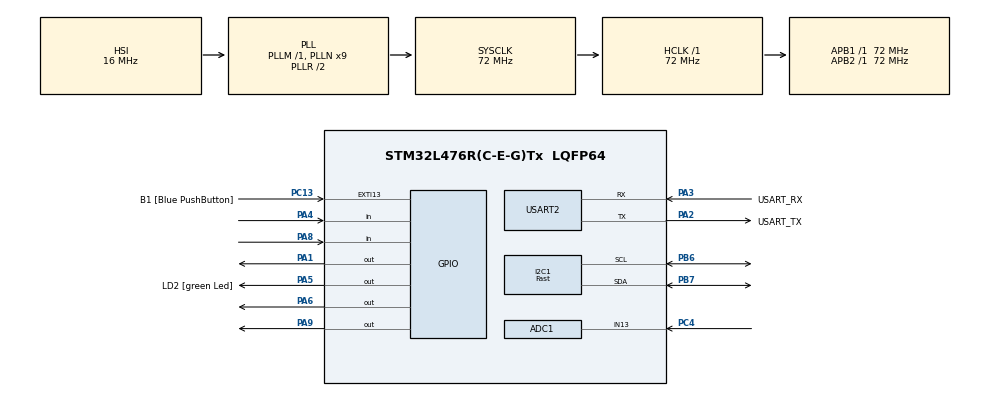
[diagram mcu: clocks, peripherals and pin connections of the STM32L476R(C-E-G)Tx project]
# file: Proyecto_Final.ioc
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ADC1.Channel-5\#ChannelRegularConversion=ADC_CHANNEL_13
ADC1.ContinuousConvMode=ENABLE
ADC1.NbrOfConversionFlag=1
ADC1.OffsetNumber-5\#ChannelRegularConversion=ADC_OFFSET_NONE
ADC1.Rank-5\#ChannelRegularConversion=1
ADC1.SamplingTime-5\#ChannelRegularConversion=ADC_SAMPLETIME_2CYCLES_5
ADC1.master=1
I2C1.I2C_Speed_Mode=I2C_Fast
I2C1.Timing=0x00702681
Mcu.Family=STM32L4
Mcu.Name=STM32L476R(C-E-G)Tx
Mcu.Package=LQFP64
NVIC.PriorityGroup=NVIC_PRIORITYGROUP_4
PA1.Signal=GPIO_Output
PA13\ (JTMS-SWDIO).GPIO_Label=TMS
PA13\ (JTMS-SWDIO).Mode=Serial_Wire
PA13\ (JTMS-SWDIO).Signal=SYS_JTMS-SWDIO
PA14\ (JTCK-SWCLK).GPIO_Label=TCK
PA14\ (JTCK-SWCLK).Mode=Serial_Wire
PA14\ (JTCK-SWCLK).Signal=SYS_JTCK-SWCLK
PA2.GPIO_Label=USART_TX
PA2.GPIO_Mode=GPIO_MODE_AF_PP
PA2.GPIO_PuPd=GPIO_NOPULL
PA2.GPIO_Speed=GPIO_SPEED_FREQ_VERY_HIGH
PA2.Mode=Asynchronous
PA2.Signal=USART2_TX
PA3.GPIO_Label=USART_RX
PA3.GPIO_Mode=GPIO_MODE_AF_PP
PA3.GPIO_PuPd=GPIO_NOPULL
PA3.GPIO_Speed=GPIO_SPEED_FREQ_VERY_HIGH
PA3.Mode=Asynchronous
PA3.Signal=USART2_RX
PA4.Signal=GPIO_Input
PA5.GPIO_Label=LD2 [green Led]
PA5.GPIO_ModeDefaultOutputPP=GPIO_MODE_OUTPUT_PP
PA5.GPIO_PuPd=GPIO_NOPULL
PA5.GPIO_Speed=GPIO_SPEED_FREQ_LOW
PA5.Signal=GPIO_Output
PA6.Signal=GPIO_Output
PA8.Signal=GPIO_Input
PA9.Signal=GPIO_Output
PB3\ (JTDO-TRACESWO).GPIO_Label=SWO
PB3\ (JTDO-TRACESWO).Signal=SYS_JTDO-SWO
PB6.Mode=I2C
PB6.Signal=I2C1_SCL
PB7.Mode=I2C
PB7.Signal=I2C1_SDA
PC13.GPIO_Label=B1 [Blue PushButton]
PC13.GPIO_ModeDefaultEXTI=GPIO_MODE_IT_FALLING
PC13.GPIO_PuPd=GPIO_NOPULL
PC13.Signal=GPXTI13
PC14-OSC32_IN\ (PC14).Signal=RCC_OSC32_IN
PC15-OSC32_OUT\ (PC15).Signal=RCC_OSC32_OUT
PC4.Signal=ADCx_IN13
PH0-OSC_IN\ (PH0).Mode=HSE-External-Oscillator
PH0-OSC_IN\ (PH0).Signal=RCC_OSC_IN
PH1-OSC_OUT\ (PH1).Mode=HSE-External-Oscillator
PH1-OSC_OUT\ (PH1).Signal=RCC_OSC_OUT
ProjectManager.HeapSize=0x200
ProjectManager.StackSize=0x400
ProjectManager.TargetToolchain=STM32CubeIDE
RCC.ADCFreq_Value=64000000
RCC.AHBFreq_Value=72000000
RCC.APB1Freq_Value=72000000
RCC.APB1TimFreq_Value=72000000
RCC.APB2Freq_Value=72000000
RCC.APB2TimFreq_Value=72000000
RCC.CortexFreq_Value=72000000
RCC.HCLKFreq_Value=72000000
RCC.HSE_VALUE=8000000
RCC.HSI_VALUE=16000000
RCC.LSE_VALUE=32768
RCC.MSI_VALUE=4000000
RCC.PLLN=9
RCC.PLLSourceVirtual=RCC_PLLSOURCE_HSI
RCC.PREFETCH_ENABLE=1
RCC.SYSCLKFreq_VALUE=72000000
RCC.SYSCLKSource=RCC_SYSCLKSOURCE_PLLCLK
RCC.USBFreq_Value=64000000
RCC.VCOOutputFreq_Value=144000000
SH.ADCx_IN13.0=ADC1_IN13,IN13-Single-Ended
TIM1.Prescaler=71
USART2.VirtualMode-Asynchronous=VM_ASYNC
VP_TIM1_VS_ClockSourceINT.Mode=Internal
board=NUCLEO-L476RG

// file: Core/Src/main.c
/* USER CODE BEGIN Header */
/**
 ******************************************************************************
 * @file           : main.c
 * @brief          : Main program body
 ******************************************************************************
 * @attention
 *
 * Copyright (c) 2022 STMicroelectronics.
 * All rights reserved.
 *
 * This software is licensed under terms that can be found in the LICENSE file
 * in the root directory of this software component.
 * If no LICENSE file comes with this software, it is provided AS-IS.
 *
 * CONEXIONES:
 * HC-SR04 (PROXIMIDAD): Vcc = +5V, Trig = PA9, Echo = PA8
 * SSD1306 (OLED): Vcc = +3.3V, SDA = PB7, SCL = PB6
 * HUMEDAD: Vcc = +5V, AO = PC4
 * DHT11 (TEMPERATURA): Vcc = +5V, DAT = A1
 * PA4: Entrada botón
 * PA6: Salida relé para motobomba
 ******************************************************************************
 */
/* USER CODE END Header */
#include "main.h"

/* USER CODE BEGIN Includes */
#include "fonts.h"
#include "ssd1306.h"
#include "stdio.h"
#include "planta.h"
#include "delay.h"
#include "app_nucleo_l476.h"
#include "animation.h"
#include "distancia.h"
#include "temperatura.h"
#include "humedad.h"
/* USER CODE END Includes */

ADC_HandleTypeDef hadc1;

I2C_HandleTypeDef hi2c1;

TIM_HandleTypeDef htim1;

UART_HandleTypeDef huart2;

/* USER CODE BEGIN PV */

char strCopy[30]; //Para escribir en el OLED

uint8_t Button = 0; //BOMBA

extern void FSM_Read_PushButton_1(uint8_t *flag);//BOMBA
extern void DireccionalDerecha(uint8_t *flag);//BOMBA
static uint8_t temp_1 = 0;//BOMBA

/* USER CODE END PV */

void SystemClock_Config(void);
static void MX_GPIO_Init(void);
static void MX_USART2_UART_Init(void);
static void MX_I2C1_Init(void);
static void MX_TIM1_Init(void);
static void MX_ADC1_Init(void);

int main(void)
{

	/* MCU Configuration--------------------------------------------------------*/

	/* Reset of all peripherals, Initializes the Flash interface and the Systick. */
	HAL_Init();

	/* Configure the system clock */
	SystemClock_Config();

	/* Initialize all configured peripherals */
	MX_GPIO_Init();
	MX_USART2_UART_Init();
	MX_I2C1_Init();
	MX_TIM1_Init();
	MX_ADC1_Init();
	/* USER CODE BEGIN 2 */
	HAL_ADC_Start(&hadc1); //Para humedad
	HAL_TIM_Base_Start(&htim1);
	HAL_GPIO_WritePin(TRIG_PORT, TRIG_PIN, GPIO_PIN_RESET);  // pull the TRIG pin low (ULTRASONICO)
	SSD1306_Init();

	SSD1306_GotoXY (0, 0);
	SSD1306_Puts ("INICALIZANDO...", &Font_7x10, 1);
	SSD1306_UpdateScreen();
	HAL_Delay(1000);
	SSD1306_Clear();

	/* USER CODE END 2 */

	/* Infinite loop */
	/* USER CODE BEGIN WHILE */
	while (1)
	{
		static uint64_t c;

/////////////////////////////////////////////////////////////////////////////////////////////////////////////////////////////
/////////////////////////////////////////SENSOR DISTANCIA ULTRASÓNICO////////////////////////////////////////////////////////
/////////////////////////////////////////////////////////////////////////////////////////////////////////////////////////////

		DISTANCIA();

//ACTIVACION MANUAL CON BOTON
		if(Distance < 13){
			FSM_Read_PushButton_1(&temp_1); //LECTURA BOTÓN
			DireccionalDerecha(&temp_1); //ACTIVACION MANUAL BOMBA
			if(temp_1==1){
			c=0;
			while(temp_1==1 && Distance < 13){
				if(c++ == 0){ //Para limpiar display una sola vez
				SSD1306_Clear();}
				animation1(); //Animacion para modo manual
				FSM_Read_PushButton_1(&temp_1);
				DISTANCIA(); //Para salir del loop por si se acaba el agua en el modo manual
			}
			LD3_Reset();
			SSD1306_Clear();
		}}

		//IMPRESIÓN EN LCD DISTANCIA
		SSD1306_GotoXY (0, 0);
		sprintf(strCopy,"%dcm ", Distance);
		SSD1306_Puts (strCopy, &Font_11x18, 1);
		SSD1306_UpdateScreen();

/////////////////////////////////////////////////////////////////////////////////////////////////////////////////////////////
/////////////////////////////////////////RECARGA BOMBA///////////////////////////////////////////////////////////////////////
/////////////////////////////////////////////////////////////////////////////////////////////////////////////////////////////

		//AVISO LLENADO DE BOMBA, CALIBRAR - MUESTRA DATOS PERO NO ACCIONA LA BOMBA DE AGUA
		if(Distance >= 13){
			c=0;
			while(Distance >= 13){
				if(c++ == 0){
					SSD1306_Clear(); //HACE UN CLEAR DEL DISPLAY SOLO LA PRIMERA VEZ PARA QUITAR LAS LETRAS
					SSD1306_Fill(SSD1306_COLOR_WHITE);
					SSD1306_GotoXY (0, 0);
					sprintf(strCopy,"RECARGAR");
					SSD1306_Puts (strCopy, &Font_11x18, 0);
					SSD1306_GotoXY (0, 18);
					sprintf(strCopy,"TANQUE");
					SSD1306_Puts (strCopy, &Font_11x18, 0);
					SSD1306_UpdateScreen();
				}

			//LECTURAS SIN ACCIONAR BOMBA//

				//TEMPERATURA
				TEMPERATURA();
				sprintf(strCopy,"%d.%dC", TCI, TCD);
				SSD1306_GotoXY (66, 36);
				SSD1306_Puts (strCopy, &Font_7x10, 0);
				SSD1306_UpdateScreen();

				//DISTANCIA

				SSD1306_GotoXY (0, 36);
				sprintf(strCopy,"%dcm ", Distance);
				SSD1306_Puts (strCopy, &Font_7x10, 0);
				SSD1306_UpdateScreen();

				//HUMEDAD
				HUMEDAD();

				if (readValue > 3200)
				{
					SSD1306_GotoXY (0, 46);
					sprintf(strCopy,"Humedad baja ");
					SSD1306_Puts (strCopy, &Font_7x10, 0);

				}
				else if (readValue > 1500 )
				{
					SSD1306_GotoXY (0, 46);
					sprintf(strCopy,"Humedad media ");
					SSD1306_Puts (strCopy, &Font_7x10, 0);
					SSD1306_UpdateScreen();

				}
				else
				{
					SSD1306_GotoXY (0, 46);
					sprintf(strCopy,"Humedad alta ");
					SSD1306_Puts (strCopy, &Font_7x10, 0);
					SSD1306_UpdateScreen();
				}

			//PARA SALIR DEL LOOP:
				DISTANCIA();

			}
			SSD1306_Fill(SSD1306_COLOR_BLACK);
		}

//////////////////////////////////////////////////////////////////////////////////////////////////////////////////////////
/////////////////////////////////////////SENSOR TEMPERATURA DHT11/////////////////////////////////////////////////////////
//////////////////////////////////////////////////////////////////////////////////////////////////////////////////////////

		TEMPERATURA();
		HUMEDAD(); //Diagrama de flujo, es por si no entré a ningun ciclo anterior, nunca habré leido la temperatura

		//IMPRESIÓN EN LCD TEMPERATURA
		sprintf(strCopy,"%d.%dC", TCI, TCD);
		SSD1306_GotoXY (65, 0);
		SSD1306_Puts (strCopy, &Font_11x18, 1);
		SSD1306_UpdateScreen();

		//Accionamiento sensor
		if(TCI >= 26 && Distance < 13) //El distance es para asegurarse que haya agua en la bomba, es solo protocolo de seguridad ya que el sistema espera a que haya agua en el tanque
		{
			SSD1306_GotoXY (0, 40);
			sprintf(strCopy,"Temperatura alta ");
			SSD1306_Puts (strCopy, &Font_7x10, 1);
			SSD1306_GotoXY (0, 50);

			if(readValue > 2400){ //Que no riegue si hay humedad alta, solo media o menor, la diferencia con la humedad baja aqui es que mostrara la temperatura que es un dato importante en este caso
			sprintf(strCopy,"Iniciando riego...");
			SSD1306_Puts (strCopy, &Font_7x10, 1);
			SSD1306_UpdateScreen();
			HAL_Delay(1000);
			c=0;

			while (TCI >= 26 && Distance < 13 && readValue > 1500) //Aqui si es importante el distance para no dañar la bomba, el readValue es para la humedad, no tiene sentido regar las plantas con humedad muy alta
			{

				if(c++ == 0){
					LD3_Set(); //ACTIVA LA BOMBA LA PRIMERA VEZ QUE ENTRE AL LOOP.
					SSD1306_Clear(); //HACE UN CLEAR DEL DISPLAY SOLO LA PRIMERA VEZ PARA QUITAR LAS LETRAS
				}

				//BEGIN PLANT ANIMATION
				animation1();

				sprintf(strCopy,"%d.%dC", TCI, TCD); //Para mostrar temperatura mientras riega
				SSD1306_GotoXY (0, 0);
				SSD1306_Puts (strCopy, &Font_11x18, 1);
				SSD1306_UpdateScreen();

				//END PLANT ANIMATION

				//Para salir del ciclo:
				TEMPERATURA();

				//MEDIDA DE DISTANCIA
				DISTANCIA();

				//MEDIDA DE HUMEDAD
				HUMEDAD();
			}
			SSD1306_Clear();
			SSD1306_UpdateScreen();
			LD3_Reset(); //Apagar bomba despues del ciclo
		}}

//////////////////////////////////////////////////////////////////////////////////////////////////////////////////////////
/////////////////////////////////////////SENSOR HUMEDAD EN LA TIERRA//////////////////////////////////////////////////////
//////////////////////////////////////////////////////////////////////////////////////////////////////////////////////////

		HUMEDAD();

		//Implementacion sensor
		if (readValue > 3200 && Distance < 13) //El distance es para asegurarse que haya agua en la bomba, es solo protocolo de seguridad ya que el sistema espera a que haya agua en el tanque
		{
			SSD1306_GotoXY (0, 30);
			sprintf(strCopy,"Humedad baja ");
			SSD1306_Puts (strCopy, &Font_7x10, 1);
			SSD1306_GotoXY (0, 50);
			sprintf(strCopy,"Iniciando riego... ");
			SSD1306_Puts (strCopy, &Font_7x10, 1);
			SSD1306_UpdateScreen();
			HAL_Delay(1000);
			c=0;
			while (readValue > 3200 && Distance < 13) //Aqui es importante el distance para no dañar la bomba)
			{

				if(c++ == 0){
					LD3_Set(); //ACTIVA LA BOMBA LA PRIMERA VEZ QUE ENTRE AL LOOP.
					SSD1306_Clear(); //HACE UN CLEAR DEL DISPLAY SOLO LA PRIMERA VEZ PARA QUITAR LAS LETRAS
				}

				//BEGIN PLANT ANIMATION
				animation1();
				//END PLANT ANIMATION

				HUMEDAD(); //Para salir del ciclo
				DISTANCIA(); //Para la bomba

			}

			SSD1306_Clear();
			SSD1306_UpdateScreen();

			LD3_Reset(); //DESACTIVA LA BOMBA DESPUÉS FINAL DEL WHILE, HAY QUE PONERLA AQUI PARA QUE NO SE PARE EN PROCESO MANUAL (BOTON) CUANDO DETECTE OTRAS HUMEDADES
		}
		else if (readValue > 1500 )
		{
			SSD1306_GotoXY (0, 30);
			sprintf(strCopy,"Humedad media ");
			SSD1306_Puts (strCopy, &Font_7x10, 1);
			SSD1306_UpdateScreen();

			if(TCI < 26){
				SSD1306_GotoXY (0, 50);
				sprintf(strCopy,"                  "); //Para borrar iniciando regado SOLO cuando no hay altas temperaturas
				SSD1306_Puts (strCopy, &Font_7x10, 1);
				SSD1306_UpdateScreen();
			}}
		else
		{
			SSD1306_GotoXY (0, 30);
			sprintf(strCopy,"Humedad alta ");
			SSD1306_Puts (strCopy, &Font_7x10, 1);
			SSD1306_UpdateScreen();

			if(TCI < 26){
				SSD1306_GotoXY (0, 50);
				sprintf(strCopy,"                  "); //Para borrar iniciando regado SOLO cuando no hay altas temperaturas
				SSD1306_Puts (strCopy, &Font_7x10, 1);
				SSD1306_UpdateScreen();
			}}

		/* USER CODE END WHILE */

	}
}

void SystemClock_Config(void)
{
	RCC_OscInitTypeDef RCC_OscInitStruct = {0};
	RCC_ClkInitTypeDef RCC_ClkInitStruct = {0};

	/** Configure the main internal regulator output voltage
	 */
	if (HAL_PWREx_ControlVoltageScaling(PWR_REGULATOR_VOLTAGE_SCALE1) != HAL_OK)
	{
		Error_Handler();
	}

	/** Initializes the RCC Oscillators according to the specified parameters
	 * in the RCC_OscInitTypeDef structure.
	 */
	RCC_OscInitStruct.OscillatorType = RCC_OSCILLATORTYPE_HSI;
	RCC_OscInitStruct.HSIState = RCC_HSI_ON;
	RCC_OscInitStruct.HSICalibrationValue = RCC_HSICALIBRATION_DEFAULT;
	RCC_OscInitStruct.PLL.PLLState = RCC_PLL_ON;
	RCC_OscInitStruct.PLL.PLLSource = RCC_PLLSOURCE_HSI;
	RCC_OscInitStruct.PLL.PLLM = 1;
	RCC_OscInitStruct.PLL.PLLN = 9;
	RCC_OscInitStruct.PLL.PLLP = RCC_PLLP_DIV7;
	RCC_OscInitStruct.PLL.PLLQ = RCC_PLLQ_DIV2;
	RCC_OscInitStruct.PLL.PLLR = RCC_PLLR_DIV2;
	if (HAL_RCC_OscConfig(&RCC_OscInitStruct) != HAL_OK)
	{
		Error_Handler();
	}

	/** Initializes the CPU, AHB and APB buses clocks
	 */
	RCC_ClkInitStruct.ClockType = RCC_CLOCKTYPE_HCLK|RCC_CLOCKTYPE_SYSCLK
			|RCC_CLOCKTYPE_PCLK1|RCC_CLOCKTYPE_PCLK2;
	RCC_ClkInitStruct.SYSCLKSource = RCC_SYSCLKSOURCE_PLLCLK;
	RCC_ClkInitStruct.AHBCLKDivider = RCC_SYSCLK_DIV1;
	RCC_ClkInitStruct.APB1CLKDivider = RCC_HCLK_DIV1;
	RCC_ClkInitStruct.APB2CLKDivider = RCC_HCLK_DIV1;

	if (HAL_RCC_ClockConfig(&RCC_ClkInitStruct, FLASH_LATENCY_4) != HAL_OK)
	{
		Error_Handler();
	}
}

static void MX_ADC1_Init(void)
{

	ADC_MultiModeTypeDef multimode = {0};
	ADC_ChannelConfTypeDef sConfig = {0};

	/** Common config
	 */
	hadc1.Instance = ADC1;
	hadc1.Init.ClockPrescaler = ADC_CLOCK_ASYNC_DIV1;
	hadc1.Init.Resolution = ADC_RESOLUTION_12B;
	hadc1.Init.DataAlign = ADC_DATAALIGN_RIGHT;
	hadc1.Init.ScanConvMode = ADC_SCAN_DISABLE;
	hadc1.Init.EOCSelection = ADC_EOC_SINGLE_CONV;
	hadc1.Init.LowPowerAutoWait = DISABLE;
	hadc1.Init.ContinuousConvMode = ENABLE;
	hadc1.Init.NbrOfConversion = 1;
	hadc1.Init.DiscontinuousConvMode = DISABLE;
	hadc1.Init.ExternalTrigConv = ADC_SOFTWARE_START;
	hadc1.Init.ExternalTrigConvEdge = ADC_EXTERNALTRIGCONVEDGE_NONE;
	hadc1.Init.DMAContinuousRequests = DISABLE;
	hadc1.Init.Overrun = ADC_OVR_DATA_PRESERVED;
	hadc1.Init.OversamplingMode = DISABLE;
	if (HAL_ADC_Init(&hadc1) != HAL_OK)
	{
		Error_Handler();
	}

	/** Configure the ADC multi-mode
	 */
	multimode.Mode = ADC_MODE_INDEPENDENT;
	if (HAL_ADCEx_MultiModeConfigChannel(&hadc1, &multimode) != HAL_OK)
	{
		Error_Handler();
	}

	/** Configure Regular Channel
	 */
	sConfig.Channel = ADC_CHANNEL_13;
	sConfig.Rank = ADC_REGULAR_RANK_1;
	sConfig.SamplingTime = ADC_SAMPLETIME_2CYCLES_5;
	sConfig.SingleDiff = ADC_SINGLE_ENDED;
	sConfig.OffsetNumber = ADC_OFFSET_NONE;
	sConfig.Offset = 0;
	if (HAL_ADC_ConfigChannel(&hadc1, &sConfig) != HAL_OK)
	{
		Error_Handler();
	}

}

static void MX_I2C1_Init(void)
{

	hi2c1.Instance = I2C1;
	hi2c1.Init.Timing = 0x00702681;
	hi2c1.Init.OwnAddress1 = 0;
	hi2c1.Init.AddressingMode = I2C_ADDRESSINGMODE_7BIT;
	hi2c1.Init.DualAddressMode = I2C_DUALADDRESS_DISABLE;
	hi2c1.Init.OwnAddress2 = 0;
	hi2c1.Init.OwnAddress2Masks = I2C_OA2_NOMASK;
	hi2c1.Init.GeneralCallMode = I2C_GENERALCALL_DISABLE;
	hi2c1.Init.NoStretchMode = I2C_NOSTRETCH_DISABLE;
	if (HAL_I2C_Init(&hi2c1) != HAL_OK)
	{
		Error_Handler();
	}

	/** Configure Analogue filter
	 */
	if (HAL_I2CEx_ConfigAnalogFilter(&hi2c1, I2C_ANALOGFILTER_ENABLE) != HAL_OK)
	{
		Error_Handler();
	}

	/** Configure Digital filter
	 */
	if (HAL_I2CEx_ConfigDigitalFilter(&hi2c1, 0) != HAL_OK)
	{
		Error_Handler();
	}

}

static void MX_TIM1_Init(void)
{

	TIM_ClockConfigTypeDef sClockSourceConfig = {0};
	TIM_MasterConfigTypeDef sMasterConfig = {0};

	htim1.Instance = TIM1;
	htim1.Init.Prescaler = 71;
	htim1.Init.CounterMode = TIM_COUNTERMODE_UP;
	htim1.Init.Period = 65535;
	htim1.Init.ClockDivision = TIM_CLOCKDIVISION_DIV1;
	htim1.Init.RepetitionCounter = 0;
	htim1.Init.AutoReloadPreload = TIM_AUTORELOAD_PRELOAD_DISABLE;
	if (HAL_TIM_Base_Init(&htim1) != HAL_OK)
	{
		Error_Handler();
	}
	sClockSourceConfig.ClockSource = TIM_CLOCKSOURCE_INTERNAL;
	if (HAL_TIM_ConfigClockSource(&htim1, &sClockSourceConfig) != HAL_OK)
	{
		Error_Handler();
	}
	sMasterConfig.MasterOutputTrigger = TIM_TRGO_RESET;
	sMasterConfig.MasterOutputTrigger2 = TIM_TRGO2_RESET;
	sMasterConfig.MasterSlaveMode = TIM_MASTERSLAVEMODE_DISABLE;
	if (HAL_TIMEx_MasterConfigSynchronization(&htim1, &sMasterConfig) != HAL_OK)
	{
		Error_Handler();
	}

}

static void MX_USART2_UART_Init(void)
{

	huart2.Instance = USART2;
	huart2.Init.BaudRate = 115200;
	huart2.Init.WordLength = UART_WORDLENGTH_8B;
	huart2.Init.StopBits = UART_STOPBITS_1;
	huart2.Init.Parity = UART_PARITY_NONE;
	huart2.Init.Mode = UART_MODE_TX_RX;
	huart2.Init.HwFlowCtl = UART_HWCONTROL_NONE;
	huart2.Init.OverSampling = UART_OVERSAMPLING_16;
	huart2.Init.OneBitSampling = UART_ONE_BIT_SAMPLE_DISABLE;
	huart2.AdvancedInit.AdvFeatureInit = UART_ADVFEATURE_NO_INIT;
	if (HAL_UART_Init(&huart2) != HAL_OK)
	{
		Error_Handler();
	}

}

static void MX_GPIO_Init(void)
{
	GPIO_InitTypeDef GPIO_InitStruct = {0};

	/* GPIO Ports Clock Enable */
	__HAL_RCC_GPIOC_CLK_ENABLE();
	__HAL_RCC_GPIOH_CLK_ENABLE();
	__HAL_RCC_GPIOA_CLK_ENABLE();
	__HAL_RCC_GPIOB_CLK_ENABLE();

	/*Configure GPIO pin Output Level */
	HAL_GPIO_WritePin(GPIOA, GPIO_PIN_1|LD2_Pin|GPIO_PIN_6|GPIO_PIN_9, GPIO_PIN_RESET);

	/*Configure GPIO pin : B1_Pin */
	GPIO_InitStruct.Pin = B1_Pin;
	GPIO_InitStruct.Mode = GPIO_MODE_IT_FALLING;
	GPIO_InitStruct.Pull = GPIO_NOPULL;
	HAL_GPIO_Init(B1_GPIO_Port, &GPIO_InitStruct);

	/*Configure GPIO pins : PA1 LD2_Pin PA6 PA9 */
	GPIO_InitStruct.Pin = GPIO_PIN_1|LD2_Pin|GPIO_PIN_6|GPIO_PIN_9;
	GPIO_InitStruct.Mode = GPIO_MODE_OUTPUT_PP;
	GPIO_InitStruct.Pull = GPIO_NOPULL;
	GPIO_InitStruct.Speed = GPIO_SPEED_FREQ_LOW;
	HAL_GPIO_Init(GPIOA, &GPIO_InitStruct);

	/*Configure GPIO pins : PA4 PA8 */
	GPIO_InitStruct.Pin = GPIO_PIN_4|GPIO_PIN_8;
	GPIO_InitStruct.Mode = GPIO_MODE_INPUT;
	GPIO_InitStruct.Pull = GPIO_NOPULL;
	HAL_GPIO_Init(GPIOA, &GPIO_InitStruct);

}

void Error_Handler(void)
{
	__disable_irq();
	while (1)
	{
	}
}
